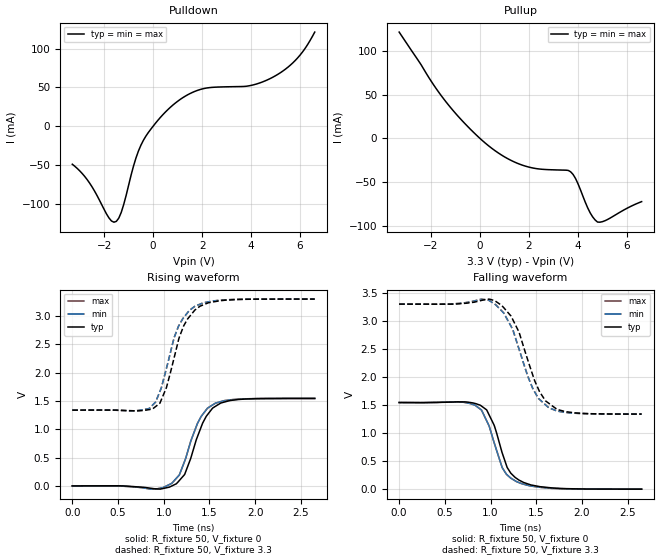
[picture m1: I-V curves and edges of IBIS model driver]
| IBIS file ex2_nomiller_tr100ps.ibs created by PYS2IBIS3
| Missouri S&T EMC Lab
[IBIS Ver] 7.1
[File Name] ex2_nomiller_tr100ps.ibs
[File Rev] 1.0
[Date] July 28, 2026
[Source] ex2 variant nomiller -- n4->out Miller caps removed
[Notes] Parameter selection; sim_time=2.653e-09, tr=tf=1.000e-10.
[Disclaimer] Experimental characterization for pybis observability study.
[Component] MCM Driver 1
[Manufacturer] MegaFLOPS Inc.
[Package]
| variable   typ   min   max
R_pkg 0 NA NA
L_pkg 0H NA NA
C_pkg 0F NA NA
[Pin]  signal_name   model_name   R_pin   L_pin   C_pin
vdd   vdd   POWER
gnd   gnd   GND
| in in dummy
out   out   driver
| End of Component
| Models and submodels in the file (1): driver (Output)
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[Model] driver
Model_type Output
Polarity Non-Inverting
Enable Active-Low
Vinl  = 0.8V
Vinh  = 2V
C_comp 5.0000pF 5.0000pF 5.0000pF
[Temperature Range] 27.0000 27.0000 27.0000
[Voltage Range] 3.3000V 3.3000V 3.3000V
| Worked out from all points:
|   slope of the pulldown table from 0 to 0.495 V, typ, clamps not added: 27.4 ohm
|   slope of the pullup table from 0 to 0.495 V, typ, clamps not added: 42.7 ohm
|   rising waveform, R_fixture 50, V_fixture 0: 20-80 % time 215ps typ, 215ps min, 215ps max; typ from 0 V to 1.54 V
|   rising waveform, R_fixture 50, V_fixture 3.3: 20-80 % time 218ps typ, 218ps min, 218ps max; typ from 1.34 V to 3.3 V
|   falling waveform, R_fixture 50, V_fixture 0: 20-80 % time 200ps typ, 203ps min, 203ps max; typ from 1.54 V to 0 V
|   falling waveform, R_fixture 50, V_fixture 3.3: 20-80 % time 260ps typ, 261ps min, 261ps max; typ from 3.3 V to 1.34 V
[Pulldown]
| Voltage   I(typ)   I(min)   I(max)
-3.3V     -48.93mA   -48.93mA   -48.93mA
-2.6V     -72.86mA   -72.86mA   -72.86mA
-1.8V     -118.2mA   -118.2mA   -118.2mA
-1.5V     -122.5mA   -122.5mA   -122.5mA
-1.3V     -110.9mA   -110.9mA   -110.9mA
-500mV    -24.59mA   -24.59mA   -24.59mA
600mV     21.34mA    21.34mA    21.34mA
1.9V      47.12mA    47.12mA    47.12mA
3.9V      51.99mA    51.99mA    51.99mA
4.9V      63.38mA    63.38mA    63.38mA
5.9V      87.99mA    87.99mA    87.99mA
6.6V      121.3mA    121.3mA    121.3mA
[Pullup]
| Voltage   I(typ)   I(min)   I(max)
-3.3V     122mA      122mA      122mA
-1.9V     61.75mA    61.75mA    61.75mA
-1.3V     38.86mA    38.86mA    38.86mA
-200mV    5.278mA    5.278mA    5.278mA
700mV     -15.75mA   -15.75mA   -15.75mA
2V        -32.92mA   -32.92mA   -32.92mA
3.7V      -38.24mA   -38.24mA   -38.24mA
3.9V      -45.89mA   -45.89mA   -45.89mA
4.5V      -85.43mA   -85.43mA   -85.43mA
4.8V      -95.97mA   -95.97mA   -95.97mA
5.1V      -94.48mA   -94.48mA   -94.48mA
6.6V      -72.53mA   -72.53mA   -72.53mA
[Ramp]
| variable   typ   min   max
dV/dt_r 0.9270/0.2144n 0.9270/0.2154n 0.9270/0.2154n
dV/dt_f 1.1766/0.2603n  1.1766/0.26n  1.1766/0.26n
R_load = 50
[Rising Waveform]
R_fixture = 50
V_fixture = 0
|time   V(typ)   V(min)   V(max)
0s        7.302nV    7.302nV    7.302nV
916.1ps   -52.33mV   -55.06mV   -55.06mV
1.057ns   -25.8mV    18.67mV    18.67mV
1.168ns   89.58mV    182.9mV    182.9mV
1.227ns   192.9mV    425.8mV    425.8mV
1.405ns   1.025V     1.214V     1.214V
1.463ns   1.224V     1.339V     1.339V
1.564ns   1.404V     1.46V      1.46V
1.8ns     1.524V     1.53V      1.53V
2.653ns   1.545V     1.545V     1.545V
[Rising Waveform]
R_fixture = 50
V_fixture = 3.3
|time   V(typ)   V(min)   V(max)
0s        1.338V     1.338V     1.338V
831.1ps   1.344V     1.363V     1.363V
910.8ps   1.399V     1.48V      1.48V
955.9ps   1.455V     1.657V     1.657V
1.03ns    1.737V     2.072V     2.072V
1.16ns    2.565V     2.814V     2.814V
1.219ns   2.827V     2.973V     2.973V
1.338ns   3.102V     3.171V     3.171V
1.683ns   3.282V     3.286V     3.286V
2.653ns   3.3V       3.3V       3.3V
[Falling Waveform]
R_fixture = 50
V_fixture = 0
|time   V(typ)   V(min)   V(max)
0s        1.545V     1.545V     1.545V
687.7ps   1.557V     1.554V     1.554V
889.5ps   1.495V     1.426V     1.426V
982.5ps   1.33V      1.138V     1.138V
1.038ns   1.144V     833.1mV    833.1mV
1.129ns   640.4mV    381.2mV    381.2mV
1.216ns   294.7mV    204mV      204mV
1.336ns   140.9mV    99.72mV    99.72mV
1.747ns   11.96mV    10.05mV    10.05mV
2.653ns   95.45uV    77.7uV     77.7uV
[Falling Waveform]
R_fixture = 50
V_fixture = 3.3
|time   V(typ)   V(min)   V(max)
0s        3.3V       3.3V       3.3V
900.1ps   3.364V     3.389V     3.389V
1.046ns   3.361V     3.3V       3.3V
1.224ns   3.086V     2.905V     2.905V
1.312ns   2.799V     2.496V     2.496V
1.46ns    2.041V     1.8V       1.8V
1.537ns   1.735V     1.597V     1.597V
1.63ns    1.539V     1.458V     1.458V
1.907ns   1.362V     1.356V     1.356V
2.653ns   1.339V     1.339V     1.339V
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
